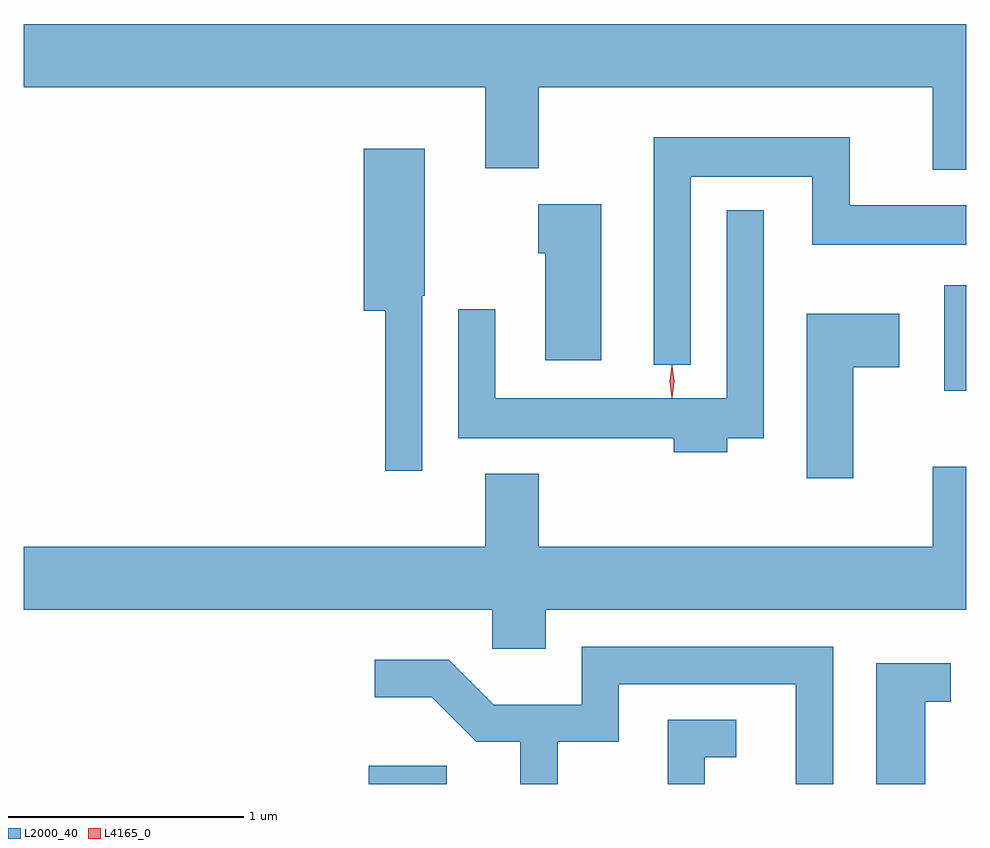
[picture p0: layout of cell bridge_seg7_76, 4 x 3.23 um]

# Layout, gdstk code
import gdstk
lib = gdstk.Library(unit=1e-6, precision=1e-09)
def R(c, l, rs):  # rectangles x0, y0, x1, y1
    for r in rs: c.add(gdstk.rectangle(r[:2], r[2:], *l))
def P(c, l, *ps):  # polygons
    for p in ps: c.add(gdstk.Polygon(p, *l))
L2000_40 = (2000, 40)
L4165_0 = (4165, 0)

bridge_seg7_76 = lib.new_cell('bridge_seg7_76')
R(bridge_seg7_76, L2000_40, [(1609.446,1791.277,1609.779,1791.354), (1611.891,1792.946,1611.983,1793.394)])
P(bridge_seg7_76, L2000_40, [(1611.983,1794.504),(1607.983,1794.504),(1607.983,1794.236),(1609.941,1794.236),(1609.941,1793.891),(1610.169,1793.891),(1610.169,1794.236),(1611.841,1794.236),(1611.841,1793.886),(1611.983,1793.886)],
  [(1610.814,1793.856),(1611.331,1793.856),(1611.331,1793.566),(1611.983,1793.566),(1611.983,1793.734),(1611.489,1793.734),(1611.489,1794.024),(1610.656,1794.024),(1610.656,1793.058),(1610.814,1793.058)],
  [(1609.674,1793.35),(1609.684,1793.35),(1609.684,1793.974),(1609.426,1793.974),(1609.426,1793.286),(1609.516,1793.286),(1609.516,1792.608),(1609.674,1792.608)],
  [(1610.434,1793.739),(1610.166,1793.739),(1610.166,1793.531),(1610.196,1793.531),(1610.196,1793.076),(1610.434,1793.076)],
  [(1610.969,1792.746),(1611.124,1792.746),(1611.124,1793.713),(1610.966,1793.713),(1610.966,1792.914),(1609.984,1792.914),(1609.984,1793.293),(1609.826,1793.293),(1609.826,1792.746),(1610.741,1792.746),(1610.741,1792.686),(1610.969,1792.686)],
  [(1611.504,1793.046),(1611.699,1793.046),(1611.699,1793.274),(1611.306,1793.274),(1611.306,1792.576),(1611.504,1792.576)],
  [(1610.199,1792.016),(1611.983,1792.016),(1611.983,1792.624),(1611.841,1792.624),(1611.841,1792.284),(1610.169,1792.284),(1610.169,1792.594),(1609.941,1792.594),(1609.941,1792.284),(1607.983,1792.284),(1607.983,1792.016),(1609.971,1792.016),(1609.971,1791.851),(1610.199,1791.851)],
  [(1610.249,1791.456),(1610.509,1791.456),(1610.509,1791.701),(1611.261,1791.701),(1611.261,1791.277),(1611.419,1791.277),(1611.419,1791.859),(1610.351,1791.859),(1610.351,1791.614),(1609.977,1791.614),(1609.787,1791.804),(1609.473,1791.804),(1609.473,1791.646),(1609.714,1791.646),(1609.904,1791.456),(1610.091,1791.456),(1610.091,1791.277),(1610.249,1791.277)],
  [(1611.809,1791.626),(1611.918,1791.626),(1611.918,1791.789),(1611.601,1791.789),(1611.601,1791.277),(1611.809,1791.277)],
  [(1610.874,1791.391),(1611.008,1791.391),(1611.008,1791.549),(1610.716,1791.549),(1610.716,1791.277),(1610.874,1791.277)])
P(bridge_seg7_76, L4165_0, [(1610.734,1792.917),(1610.734,1792.917),(1610.724,1792.986),(1610.734,1793.056),(1610.734,1793.056),(1610.735,1793.056),(1610.744,1792.986),(1610.735,1792.917)],
  [(1610.735,1792.919),(1610.734,1792.92),(1610.725,1792.986),(1610.734,1793.052),(1610.735,1793.053),(1610.735,1793.052),(1610.745,1792.986),(1610.735,1792.92)])

lib.write_gds('bridge_seg7_76.gds')
